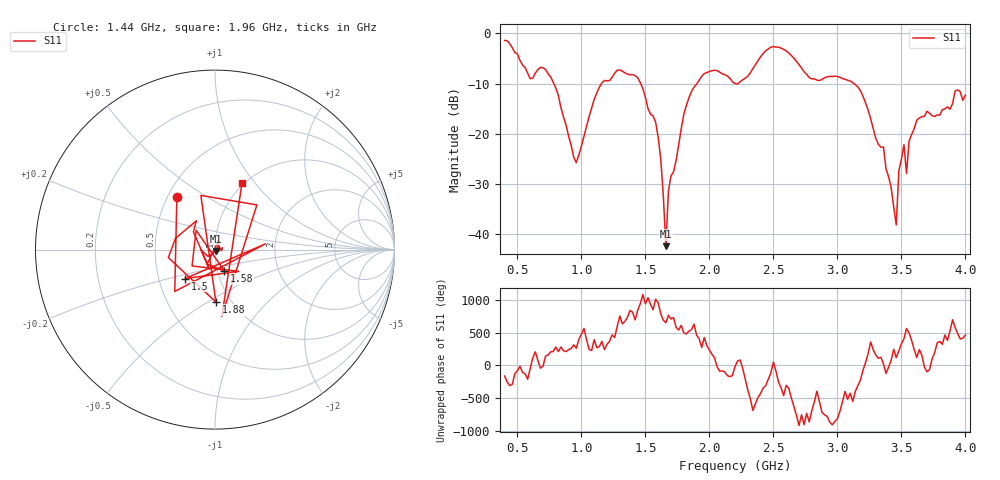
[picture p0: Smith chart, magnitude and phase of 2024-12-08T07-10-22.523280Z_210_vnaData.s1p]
!Created with skrf (http://scikit-rf.org).
# Hz S RI R 50.0
!freq ReS11 ImS11
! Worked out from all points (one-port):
!   181 points, 400 MHz to 4 GHz, reference 50 ohm
!   lowest |S11| = -42.4 dB at 1.66 GHz (marker M1), VSWR 1.02, Z = 50.3 - j0.7 ohm
!   |S11| at or under -10 dB: 784.5 MHz to 1.157 GHz (372.5 MHz wide, 38.4 % of centre); 1.463 GHz to 1.903 GHz (439.5 MHz wide, 26.1 % of centre); 3.13 GHz to end of sweep (the widest 3 of 4)
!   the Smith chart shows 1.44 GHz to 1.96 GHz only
!   S11 on the Smith chart (normalised r, x): 1.44 GHz: 0.56, +0.38; 1.5 GHz: 0.68, -0.23; 1.58 GHz: 1.08, -0.26; 1.88 GHz: 0.85, -0.54; 1.96 GHz: 0.98, +0.86
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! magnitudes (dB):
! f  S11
! 400 MHz  -1.4
! 600 MHz  -9.0
! 720 MHz  -7.2
! 860 MHz  -16.6
! 960 MHz  -25.7
! 1.14 GHz  -10.7
! 1.3 GHz  -7.3
! 1.44 GHz  -8.8
! 1.5 GHz  -12.7
! 1.58 GHz  -17.7
! 1.62 GHz  -25.0
! 1.66 GHz  -42.4
! 1.68 GHz  -31.3
! 1.76 GHz  -22.2
! 1.88 GHz  -10.7
! 1.96 GHz  -8.0
! 2.2 GHz  -10.0
! 2.48 GHz  -2.7
! 2.66 GHz  -4.9
! 3.1 GHz  -9.5
! 3.36 GHz  -22.6
! 3.46 GHz  -38.2
! 3.48 GHz  -27.4
! 3.52 GHz  -22.2
! 3.54 GHz  -27.9
! 3.56 GHz  -21.5
! 3.7 GHz  -15.5
! 4 GHz  -12.3
